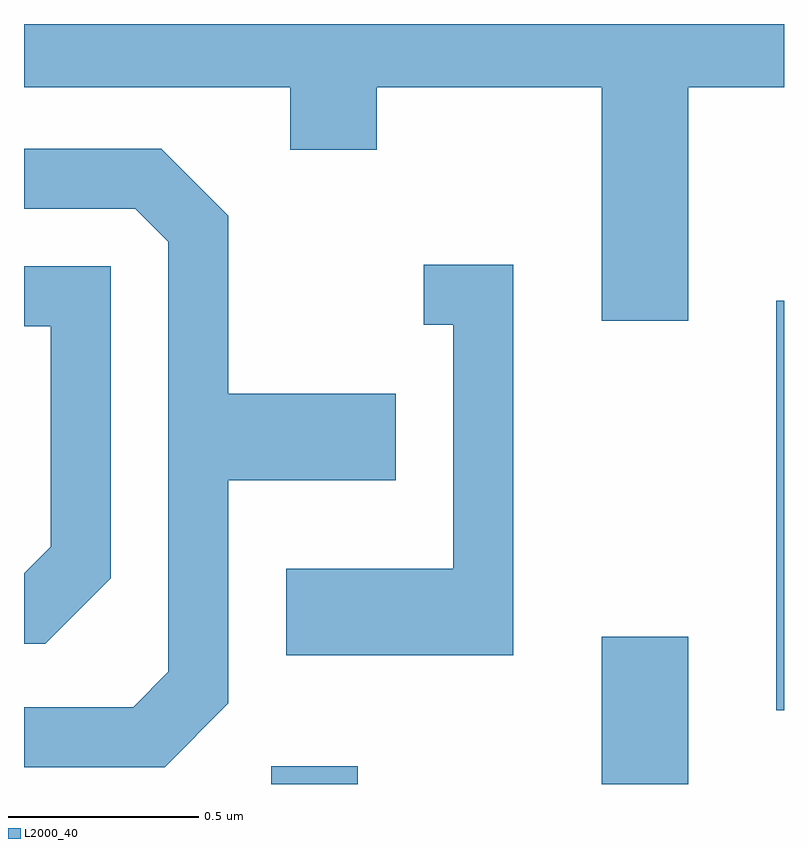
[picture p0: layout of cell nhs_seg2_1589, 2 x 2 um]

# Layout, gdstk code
import gdstk
lib = gdstk.Library(unit=1e-6, precision=1e-09)
def R(c, l, rs):  # rectangles x0, y0, x1, y1
    for r in rs: c.add(gdstk.rectangle(r[:2], r[2:], *l))
def P(c, l, *ps):  # polygons
    for p in ps: c.add(gdstk.Polygon(p, *l))
L2000_40 = (2000, 40)

nhs_seg2_1589 = lib.new_cell('nhs_seg2_1589')
R(nhs_seg2_1589, L2000_40, [(197.261,1059.802,197.489,1059.849), (198.131,1059.802,198.359,1060.189), (198.591,1059.996,198.611,1061.074)])
P(nhs_seg2_1589, L2000_40, [(198.359,1061.636),(198.611,1061.636),(198.611,1061.802),(196.611,1061.802),(196.611,1061.636),(197.311,1061.636),(197.311,1061.471),(197.539,1061.471),(197.539,1061.636),(198.131,1061.636),(198.131,1061.021),(198.359,1061.021)],
  [(197.149,1060.014),(197.149,1060.601),(197.589,1060.601),(197.589,1060.829),(197.149,1060.829),(197.149,1061.297),(196.972,1061.474),(196.611,1061.474),(196.611,1061.316),(196.904,1061.316),(196.991,1061.229),(196.991,1060.097),(196.899,1060.004),(196.611,1060.004),(196.611,1059.846),(196.982,1059.846)],
  [(197.899,1061.169),(197.663,1061.169),(197.663,1061.011),(197.741,1061.011),(197.741,1060.369),(197.301,1060.369),(197.301,1060.141),(197.899,1060.141)],
  [(196.839,1060.344),(196.839,1061.164),(196.611,1061.164),(196.611,1061.006),(196.681,1061.006),(196.681,1060.427),(196.611,1060.356),(196.611,1060.171),(196.667,1060.171)])

lib.write_gds('nhs_seg2_1589.gds')
